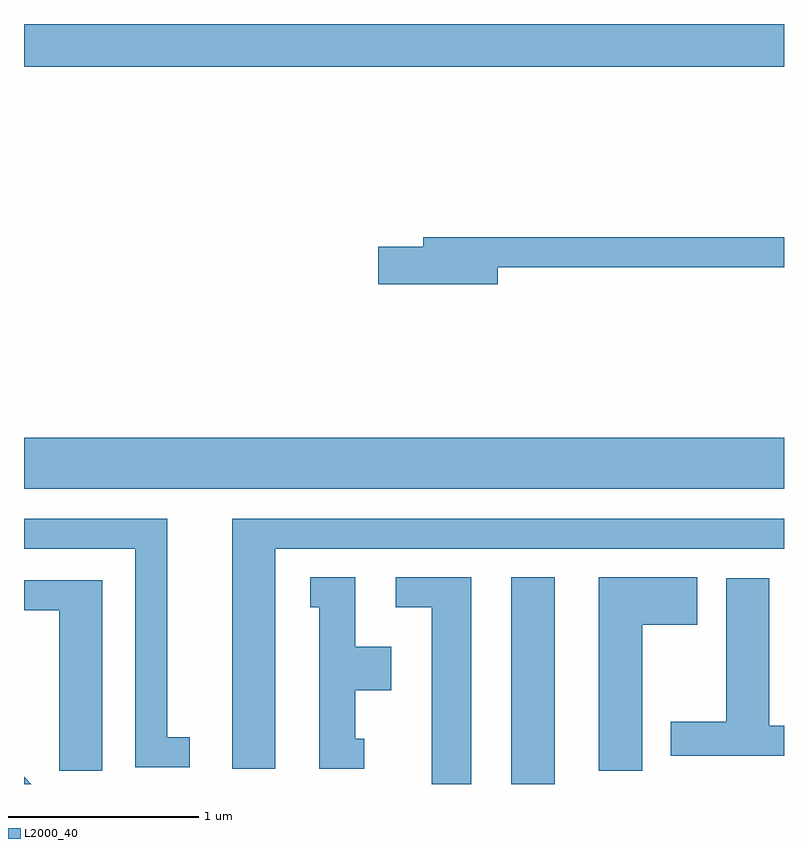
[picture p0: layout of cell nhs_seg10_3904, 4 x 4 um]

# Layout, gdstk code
import gdstk
lib = gdstk.Library(unit=1e-6, precision=1e-09)
def R(c, l, rs):  # rectangles x0, y0, x1, y1
    for r in rs: c.add(gdstk.rectangle(r[:2], r[2:], *l))
def P(c, l, *ps):  # polygons
    for p in ps: c.add(gdstk.Polygon(p, *l))
L2000_40 = (2000, 40)

nhs_seg10_3904 = lib.new_cell('nhs_seg10_3904')
R(nhs_seg10_3904, L2000_40, [(302.176,2174.522,302.404,2175.609), (299.611,2176.076,303.611,2176.344), (299.611,2178.296,303.611,2178.522)])
P(nhs_seg10_3904, L2000_40, [(302.104,2177.241),(303.611,2177.241),(303.611,2177.399),(301.711,2177.399),(301.711,2177.349),(301.476,2177.349),(301.476,2177.151),(302.104,2177.151)],
  [(300.934,2175.761),(303.611,2175.761),(303.611,2175.919),(300.706,2175.919),(300.706,2174.601),(300.934,2174.601)],
  [(300.483,2174.769),(300.364,2174.769),(300.364,2175.919),(299.611,2175.919),(299.611,2175.761),(300.196,2175.761),(300.196,2174.611),(300.483,2174.611)],
  [(301.964,2175.609),(301.568,2175.609),(301.568,2175.451),(301.756,2175.451),(301.756,2174.522),(301.964,2174.522)],
  [(301.403,2174.759),(301.354,2174.759),(301.354,2175.016),(301.544,2175.016),(301.544,2175.244),(301.354,2175.244),(301.354,2175.609),(301.118,2175.609),(301.118,2175.451),(301.166,2175.451),(301.166,2174.601),(301.403,2174.601)],
  [(302.864,2175.361),(303.154,2175.361),(303.154,2175.609),(302.636,2175.609),(302.636,2174.591),(302.864,2174.591)],
  [(303.611,2174.829),(303.534,2174.829),(303.534,2175.604),(303.306,2175.604),(303.306,2174.849),(303.016,2174.849),(303.016,2174.671),(303.611,2174.671)],
  [(300.024,2175.594),(299.611,2175.594),(299.611,2175.436),(299.796,2175.436),(299.796,2174.591),(300.024,2174.591)],
  [(299.611,2174.56),(299.611,2174.522),(299.649,2174.522)])

lib.write_gds('nhs_seg10_3904.gds')
